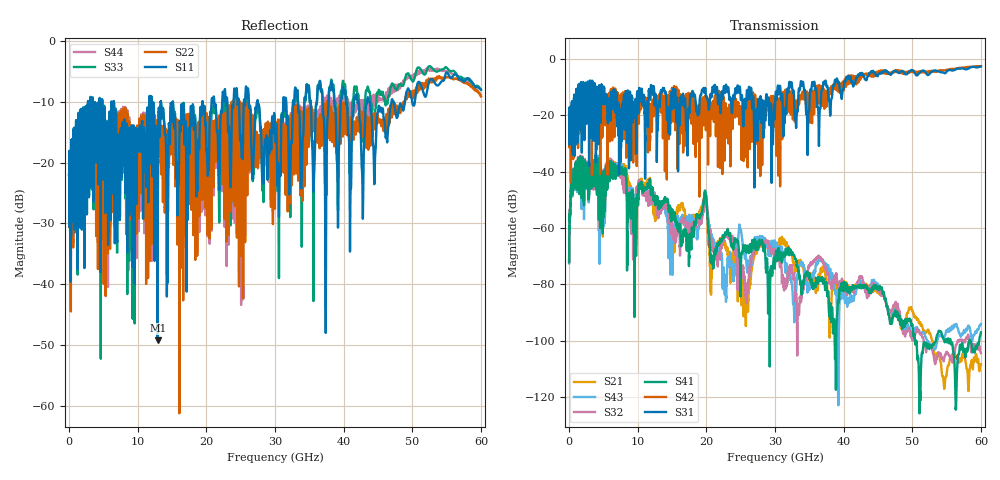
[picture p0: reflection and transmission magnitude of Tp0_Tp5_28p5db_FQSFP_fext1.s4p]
!4 port subset of full cascaded channels using these ports:1 37 2 38
# Hz S RI R 50
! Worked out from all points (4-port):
!   6000 points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, 10 MHz to 60 GHz, reference 50 ohm
!   strongest paths, dB at 10 MHz, 15.01 GHz, 30.01 GHz, 45.01 GHz, 60 GHz:
!     S31: -20.0, -18.0, -17.9, -6.0, -2.8
!     S42: -20.0, -10.7, -13.8, -5.2, -2.7
!     S41: -72.1, -53.5, -73.0, -81.1, -97.0
!     S32: -71.8, -56.4, -69.0, -81.4, -104.3
!     S43: -72.6, -65.9, -66.4, -80.1, -94.0
!     S21: -72.0, -62.0, -66.9, -82.7, -108.3
!   lowest |S11| = -49.2 dB at 12.91 GHz (marker M1), VSWR 1.01, Z = 50.1 - j0.325 ohm
!   |S11| at or under -10 dB: 6.513 GHz to 11.67 GHz (5.153 GHz wide, 56.7 % of centre); 15.13 GHz to 19.42 GHz (4.285 GHz wide, 24.8 % of centre); 27.49 GHz to 31.22 GHz (3.722 GHz wide, 12.7 % of centre)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
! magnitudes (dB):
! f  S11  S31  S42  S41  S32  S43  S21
! 10 MHz  -21.9  -20.0  -20.0  -72.1  -71.8  -72.6  -72.0
! 1.5 GHz  -27.3  -22.6  -15.8  -48.0  -47.8  -47.6  -47.1
! 12.91 GHz  -49.2  -25.5  -14.0  -50.1  -54.0  -53.1  -55.0
! 19.84 GHz  -13.8  -10.4  -14.7  -47.5  -48.3  -47.4  -48.1
! 20.77 GHz  -9.8  -13.3  -18.1  -69.9  -65.0  -62.5  -73.2
! 22.67 GHz  -8.1  -11.5  -24.6  -62.4  -63.2  -79.4  -64.6
! 60 GHz  -8.0  -2.8  -2.7  -97.0  -104.3  -94.0  -108.3
